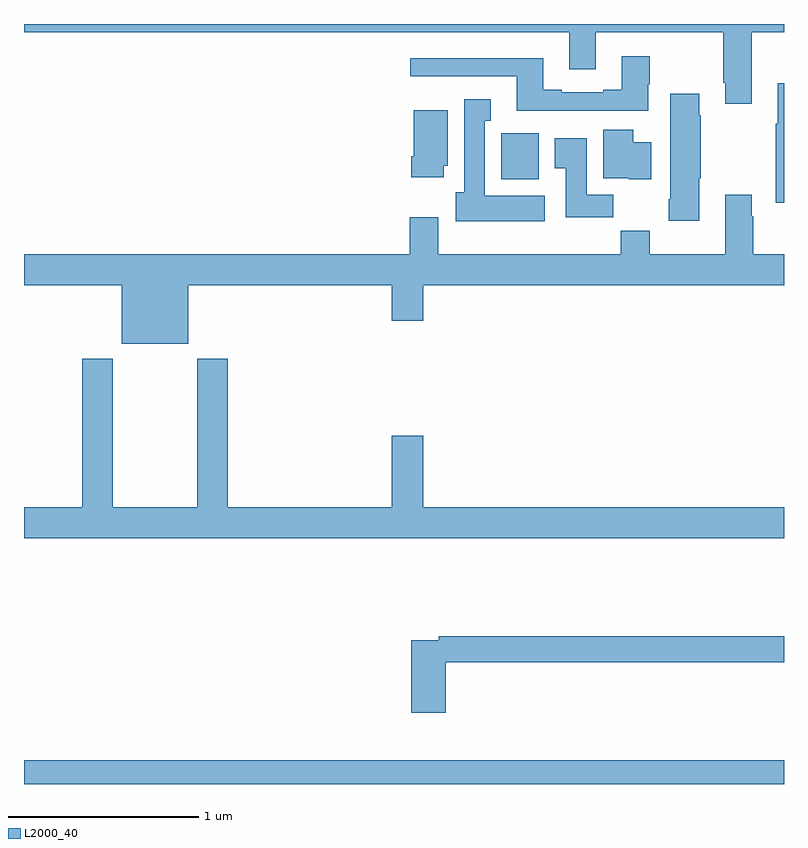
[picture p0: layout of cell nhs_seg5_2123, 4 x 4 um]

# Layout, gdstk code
import gdstk
lib = gdstk.Library(unit=1e-6, precision=1e-09)
def R(c, l, rs):  # rectangles x0, y0, x1, y1
    for r in rs: c.add(gdstk.rectangle(r[:2], r[2:], *l))
def P(c, l, *ps):  # polygons
    for p in ps: c.add(gdstk.Polygon(p, *l))
L2000_40 = (2000, 40)

nhs_seg5_2123 = lib.new_cell('nhs_seg5_2123')
R(nhs_seg5_2123, L2000_40, [(235,856.799,239,856.924), (237.512,859.982,237.709,860.224)])
P(nhs_seg5_2123, L2000_40, [(238.831,860.756),(239,860.756),(239,860.799),(235,860.799),(235,860.756),(237.869,860.756),(237.869,860.562),(238.009,860.562),(238.009,860.756),(238.679,860.756),(238.679,860.491),(238.691,860.491),(238.691,860.379),(238.831,860.379)],
  [(237.953,860.343),(238.285,860.343),(238.285,860.481),(238.293,860.481),(238.293,860.629),(238.145,860.629),(238.145,860.452),(238.049,860.452),(238.049,860.439),(237.829,860.439),(237.829,860.452),(237.733,860.452),(237.733,860.62),(237.033,860.62),(237.033,860.523),(237.593,860.523),(237.593,860.342),(237.953,860.342)],
  [(239,860.488),(238.967,860.488),(238.967,860.275),(238.956,860.275),(238.956,859.859),(239,859.859)],
  [(238.555,859.987),(238.563,859.987),(238.563,860.318),(238.555,860.318),(238.555,860.431),(238.4,860.431),(238.4,859.876),(238.393,859.876),(238.393,859.764),(238.555,859.764)],
  [(237.742,859.894),(237.424,859.894),(237.424,860.291),(237.457,860.291),(237.457,860.404),(237.317,860.404),(237.317,859.914),(237.272,859.914),(237.272,859.76),(237.742,859.76)],
  [(237.208,860.052),(237.229,860.052),(237.229,860.344),(237.05,860.344),(237.05,860.104),(237.038,860.104),(237.038,859.992),(237.208,859.992)],
  [(238.3,860.176),(238.207,860.176),(238.207,860.242),(238.049,860.242),(238.049,859.988),(238.182,859.988),(238.182,859.982),(238.3,859.982)],
  [(238.1,859.9),(237.961,859.9),(237.961,860.197),(237.794,860.197),(237.794,860.041),(237.851,860.041),(237.851,859.782),(238.1,859.782)],
  [(235.864,859.424),(236.936,859.424),(236.936,859.236),(237.1,859.236),(237.1,859.424),(239,859.424),(239,859.588),(238.839,859.588),(238.839,859.787),(238.831,859.787),(238.831,859.9),(238.691,859.9),(238.691,859.588),(238.293,859.588),(238.293,859.712),(238.141,859.712),(238.141,859.588),(237.181,859.588),(237.181,859.783),(237.029,859.783),(237.029,859.588),(235,859.588),(235,859.424),(235.514,859.424),(235.514,859.115),(235.864,859.115)],
  [(239,858.256),(237.1,858.256),(237.1,858.631),(236.936,858.631),(236.936,858.256),(236.072,858.256),(236.072,859.036),(235.912,859.036),(235.912,858.256),(235.467,858.256),(235.467,859.036),(235.307,859.036),(235.307,858.256),(235,858.256),(235,858.092),(239,858.092)],
  [(237.221,857.44),(239,857.44),(239,857.576),(237.184,857.576),(237.184,857.556),(237.038,857.556),(237.038,857.175),(237.221,857.175)])

lib.write_gds('nhs_seg5_2123.gds')
